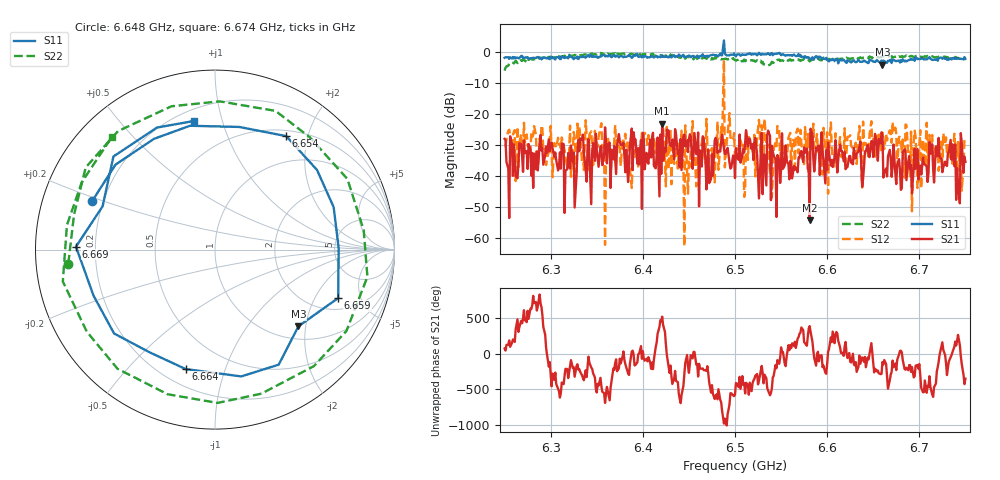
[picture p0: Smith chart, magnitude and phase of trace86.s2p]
# Hz S RI R 50
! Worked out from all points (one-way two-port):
!   401 points, 6.25 GHz to 6.75 GHz, reference 50 ohm
!   highest |S21| = -23.06 dB at 6.421 GHz (marker M1); lowest = -54.4 dB at 6.581 GHz (marker M2)
!   lowest |S11| = -4.0 dB at 6.66 GHz (marker M3), VSWR 4.43, Z = 64.1 - j91.1 ohm
!   |S11| at or under -10 dB: nowhere
!   |S22| runs from -5.9 to -0.2 dB; largest |S21 - S12| = 0.77
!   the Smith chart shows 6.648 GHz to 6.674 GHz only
!   S11 on the Smith chart (normalised r, x): 6.648 GHz: 0.16, +0.19; 6.654 GHz: 0.58, +1.66; 6.659 GHz: 2.66, -3.15; 6.664 GHz: 0.30, -0.74; 6.669 GHz: 0.13, +0.01; 6.674 GHz: 0.27, +0.82
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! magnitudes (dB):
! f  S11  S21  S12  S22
! 6.25 GHz  -1.8  -28.0  -30.3  -5.9
! 6.318 GHz  -1.7  -37.8  -37.7  -1.1
! 6.334 GHz  -1.5  -28.3  -35.6  -0.9
! 6.418 GHz  -1.4  -46.6  -36.2  -1.0
! 6.421 GHz  -0.9  -23.1  -28.9  -1.4
! 6.441 GHz  -1.1  -28.1  -35.1  -1.8
! 6.446 GHz  -1.5  -30.5  -23.6  -2.1
! 6.454 GHz  -1.2  -37.7  -22.2  -1.5
! 6.471 GHz  -1.6  -31.5  -37.7  -2.1
! 6.5 GHz  -1.0  -40.7  -35.1  -2.5
! 6.581 GHz  -2.1  -54.4  -26.2  -2.9
! 6.584 GHz  -1.6  -26.5  -30.5  -2.4
! 6.648 GHz  -2.7  -28.7  -22.3  -1.7
! 6.654 GHz  -2.5  -30.4  -26.4  -1.7
! 6.659 GHz  -2.6  -25.9  -32.2  -1.6
! 6.66 GHz  -4.0  -26.7  -26.0  -1.3
! 6.664 GHz  -3.3  -37.6  -26.2  -1.5
! 6.668 GHz  -2.8  -31.6  -25.2  -1.3
! 6.669 GHz  -2.2  -34.5  -26.6  -1.4
! 6.674 GHz  -2.8  -39.3  -24.4  -1.4
! 6.7 GHz  -2.2  -39.2  -30.2  -1.4
! 6.75 GHz  -2.1  -35.5  -27.8  -2.1
